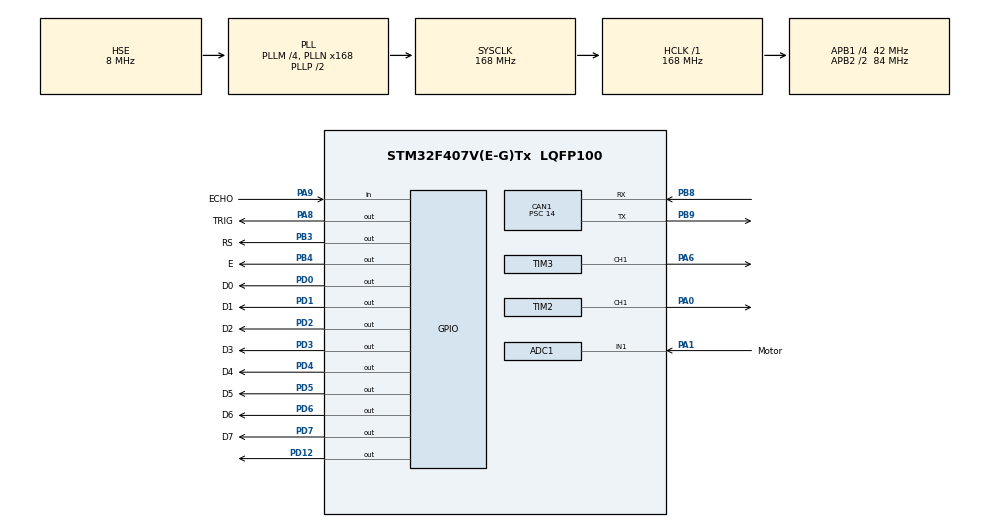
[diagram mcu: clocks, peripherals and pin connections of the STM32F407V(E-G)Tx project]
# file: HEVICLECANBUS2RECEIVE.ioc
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Mcu.Family=STM32F4
PH0-OSC_IN.Signal=RCC_OSC_IN
RCC.CortexFreq_Value=168000000
PD0.GPIO_Label=D0
PD6.GPIO_Label=D6
RCC.SYSCLKSource=RCC_SYSCLKSOURCE_PLLCLK
ProjectManager.StackSize=0x400
RCC.HCLKFreq_Value=168000000
PD4.Signal=GPIO_Output
RCC.APB2TimFreq_Value=168000000
TIM3.Period=255
PD0.Signal=GPIO_Output
RCC.AHBFreq_Value=168000000
PH0-OSC_IN.Mode=HSE-External-Oscillator
TIM3.Channel-PWM\ Generation1\ CH1=TIM_CHANNEL_1
ADC1.Channel-0\#ChannelRegularConversion=ADC_CHANNEL_1
RCC.HSE_VALUE=8000000
PD1.GPIO_Label=D1
TIM3.Prescaler=110-1
PA8.Signal=GPIO_Output
TIM2.Channel-PWM\ Generation1\ CH1=TIM_CHANNEL_1
SH.S_TIM3_CH1.0=TIM3_CH1,PWM Generation1 CH1
ADC1.SamplingTime-0\#ChannelRegularConversion=ADC_SAMPLETIME_3CYCLES
PD7.GPIO_Label=D7
PH1-OSC_OUT.Mode=HSE-External-Oscillator
CAN1.Prescaler=14
PB9.Signal=CAN1_TX
Mcu.Package=LQFP100
PA6.Signal=S_TIM3_CH1
PD12.Signal=GPIO_Output
PD5.GPIO_Label=D5
RCC.APB2CLKDivider=RCC_HCLK_DIV2
SH.ADCx_IN1.0=ADC1_IN1,IN1
RCC.APB1TimFreq_Value=84000000
PD3.GPIO_Label=D3
PD6.Signal=GPIO_Output
CAN1.CalculateTimeBit=1999.99
VP_TIM3_VS_ClockSourceINT.Mode=Internal
PB4.Signal=GPIO_Output
CAN1.CalculateTimeQuantum=333.33333333333337
PB3.GPIO_Label=RS
RCC.PLLSourceVirtual=RCC_PLLSOURCE_HSE
ADC1.Rank-0\#ChannelRegularConversion=1
PA9.GPIO_Label=ECHO
PD3.Signal=GPIO_Output
CAN1.CalculateBaudRate=500000
PD7.Signal=GPIO_Output
PD1.Signal=GPIO_Output
PD5.Signal=GPIO_Output
RCC.APB1CLKDivider=RCC_HCLK_DIV4
PA0-WKUP.Signal=S_TIM2_CH1_ETR
PA8.GPIO_Label=TRIG
CAN1.BS2=CAN_BS2_3TQ
CAN1.BS1=CAN_BS1_2TQ
ProjectManager.TargetToolchain=STM32CubeIDE
PB9.Mode=CAN_Activate
PA9.Signal=GPIO_Input
TIM4.Prescaler=168-1
RCC.LSE_VALUE=32768
PA1.Signal=ADCx_IN1
board=STM32F407G-DISC1
RCC.VCOOutputFreq_Value=336000000
RCC.APB2Freq_Value=84000000
PB4.GPIO_Label=E
VP_TIM2_VS_ClockSourceINT.Mode=Internal
PD4.GPIO_Label=D4
PA1.GPIO_Label=Motor
PH1-OSC_OUT.Signal=RCC_OSC_OUT
Mcu.Name=STM32F407V(E-G)Tx
RCC.48MHZClocksFreq_Value=48000000
PB3.Signal=GPIO_Output
RCC.SYSCLKFreq_VALUE=168000000
ADC1.master=1
SH.S_TIM2_CH1_ETR.0=TIM2_CH1,PWM Generation1 CH1
ProjectManager.HeapSize=0x200
RCC.HSI_VALUE=16000000
VP_TIM4_VS_ClockSourceINT.Mode=Internal
RCC.PLLQ=7
NVIC.PriorityGroup=NVIC_PRIORITYGROUP_0
ADC1.NbrOfConversionFlag=1
RCC.PLLM=4
PB8.Mode=CAN_Activate
RCC.PLLN=168
PB8.Signal=CAN1_RX
PD2.Signal=GPIO_Output
RCC.APB1Freq_Value=42000000
PD2.GPIO_Label=D2
NVIC.CAN1_RX0_IRQn=true\:0\:0\:false\:false\:true\:true\:true

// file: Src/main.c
/* USER CODE BEGIN Header */
/**
  ******************************************************************************
  * @file           : main.c
  * @brief          : Main program body
  ******************************************************************************
  * @attention
  *
  * <h2><center>&copy; Copyright (c) 2021 STMicroelectronics.
  * All rights reserved.</center></h2>
  *
  * This software component is licensed by ST under BSD 3-Clause license,
  * the "License"; You may not use this file except in compliance with the
  * License. You may obtain a copy of the License at:
  *                        opensource.org/licenses/BSD-3-Clause
  *
  ******************************************************************************
  */
/* USER CODE END Header */
#include "main.h"

/* USER CODE BEGIN Includes */
#include "lcd16x2.h"
#include "DC_MOTOR.h"
/* USER CODE END Includes */

/* USER CODE BEGIN PTD */
#define usTIM	TIM4
#define DC_MOTOR1    0
/* USER CODE END PTD */

ADC_HandleTypeDef hadc1;

CAN_HandleTypeDef hcan1;

TIM_HandleTypeDef htim2;
TIM_HandleTypeDef htim3;
TIM_HandleTypeDef htim4;

/* USER CODE BEGIN PV */
uint16_t state_mode = 0;
HAL_StatusTypeDef ret;
uint16_t master_ID = 0x123;
uint16_t slave_ID = 0x124;
float Distance = 0;

uint8_t value = 50;
/* USER CODE END PV */

void SystemClock_Config(void);
static void MX_GPIO_Init(void);
static void MX_CAN1_Init(void);
static void MX_TIM4_Init(void);
static void MX_ADC1_Init(void);
static void MX_TIM2_Init(void);
static void MX_TIM3_Init(void);
/* USER CODE BEGIN PFP */
void Received_Value (uint16_t temp_val);
void Delay_us(uint32_t delay);
float readdistance(void);
int bus_error = 0;
/* USER CODE END PFP */

/* USER CODE BEGIN 0 */
CAN_FilterTypeDef sFilterConfig;
CAN_TxHeaderTypeDef TxHeader;
CAN_RxHeaderTypeDef RxHeader;

uint8_t             TxData[8];
uint8_t             RxData[8];
uint32_t            TxMailbox;

int check_data = 0;

void HAL_CAN_RxFifo0MsgPendingCallback(CAN_HandleTypeDef *hcan)
{

    if(HAL_CAN_GetRxMessage(&hcan1, CAN_RX_FIFO0, &RxHeader, RxData) != HAL_OK)
    {
    	Error_Handler();
    	lcd16x2_1stLine();
        lcd16x2_printf("CAN BUS ERROR");
        HAL_Delay(1000);
    }

    if(RxHeader.StdId == master_ID)

    {
    	if(RxData[0] > 30)
    	{
    		check_data = 1;
    		state_mode = 1;   //prints temp

    		if(RxData[1] < 50)
    		{
    			check_data = 1;
    			state_mode = 2;  // prints temp and pressure

    			if(RxData[2] < 10)
    		    {
    		    	check_data = 1;
    		    	state_mode = 3;   //prints temp pressure and distance
    		    }
    		}
    		else if(RxData[2] < 10)
    		{
    			check_data = 1;
    			state_mode = 7;
    		}
    	 }
    	 else if (RxData[1] < 50)
    	 {
    		check_data = 1;
    		state_mode = 4;  //prints pressure only
    		if(RxData[0] > 30)
    		{
    			check_data = 1;
    			state_mode = 2;  //prints temp and pressure

    			if(RxData[2] < 10)
    	    	{
    	    	    check_data = 1;
    	    		state_mode = 3;  // prints pressure and distance
    	    	}
    		}
    		else if(RxData[2] < 10)
    		{
    			check_data = 1;
    			state_mode = 5;  // prints pressure and distance
    		}
    	 }
    	 else if(RxData[2] < 10)
    	 {
    		check_data = 1;
    		state_mode = 6;   // prints distance
    		if(RxData[0] > 30)
    		{
    			check_data = 1;
    			state_mode = 7; // prints temp and distance

    			if(RxData[1] < 50)
    			{
    			    check_data = 1;
    			    state_mode = 3; // prints temp pressure distance
    			}
    		}
    		else if(RxData[1] < 50)
    		{
    		    check_data = 1;
    		    state_mode = 7; // prints temp pressure distance
    		}
    	 }
    	 else
    	 {
    		check_data = 1;
    		state_mode = 0;
    	 }

    }

}

/* USER CODE END 0 */

int main(void)
{
  /* USER CODE BEGIN 1 */
	//uint16_t AD_RES = 0;
  /* USER CODE END 1 */

  /* MCU Configuration--------------------------------------------------------*/

  /* Reset of all peripherals, Initializes the Flash interface and the Systick. */
  HAL_Init();

  /* Configure the system clock */
  SystemClock_Config();

  /* Initialize all configured peripherals */
  MX_GPIO_Init();
  MX_CAN1_Init();
  MX_TIM4_Init();
  MX_ADC1_Init();
  MX_TIM2_Init();
  MX_TIM3_Init();
  /* USER CODE BEGIN 2 */

  HAL_TIM_PWM_Start(&htim3, TIM_CHANNEL_1);

  if (HAL_CAN_Start(&hcan1) != HAL_OK)
  {
    /* Start Error */
     Error_Handler();
  }

  if (HAL_CAN_ActivateNotification(&hcan1, CAN_IT_RX_FIFO0_MSG_PENDING) != HAL_OK)
  {

    /* Notification Error */
    Error_Handler();
  }

  //TxHeader.StdId = master_ID;
  TxHeader.StdId = slave_ID;
  TxHeader.ExtId = 0x00;
  TxHeader.RTR = CAN_RTR_DATA;
  TxHeader.IDE = CAN_ID_STD;
  TxHeader.DLC = 4;
  TxHeader.TransmitGlobalTime = DISABLE;

  /* LCD Pins */
    lcd16x2_init_8bits(RS_GPIO_Port, RS_Pin, E_Pin,
     D0_GPIO_Port, D0_Pin, D1_Pin, D2_Pin, D3_Pin,
     D4_GPIO_Port, D4_Pin, D5_Pin, D6_Pin, D7_Pin);

  /* USER CODE END 2 */

  /* Infinite loop */
  /* USER CODE BEGIN WHILE */
  while (1)
  {

	  if(check_data == 1)
	  {
		  Received_Value(state_mode);
	  }
	  //htim3.Instance->CCR1 = value;
	  // Start ADC Conversion
	     //HAL_ADC_Start(&hadc1);
	 // Poll ADC1 Perihperal & TimeOut = 1mSec
	 	 //HAL_ADC_PollForConversion(&hadc1, 1);
	 // Read The ADC Conversion Result & Map It To PWM DutyCycle
	 	 //AD_RES = HAL_ADC_GetValue(&hadc1);
	 	 //DC_MOTOR_Set_Speed(DC_MOTOR1, AD_RES>>2);
	 	 //HAL_Delay(1);

    /* USER CODE END WHILE */

  }
}

void SystemClock_Config(void)
{
  RCC_OscInitTypeDef RCC_OscInitStruct = {0};
  RCC_ClkInitTypeDef RCC_ClkInitStruct = {0};

  /** Configure the main internal regulator output voltage
  */
  __HAL_RCC_PWR_CLK_ENABLE();
  __HAL_PWR_VOLTAGESCALING_CONFIG(PWR_REGULATOR_VOLTAGE_SCALE1);
  /** Initializes the RCC Oscillators according to the specified parameters
  * in the RCC_OscInitTypeDef structure.
  */
  RCC_OscInitStruct.OscillatorType = RCC_OSCILLATORTYPE_HSE;
  RCC_OscInitStruct.HSEState = RCC_HSE_ON;
  RCC_OscInitStruct.PLL.PLLState = RCC_PLL_ON;
  RCC_OscInitStruct.PLL.PLLSource = RCC_PLLSOURCE_HSE;
  RCC_OscInitStruct.PLL.PLLM = 4;
  RCC_OscInitStruct.PLL.PLLN = 168;
  RCC_OscInitStruct.PLL.PLLP = RCC_PLLP_DIV2;
  RCC_OscInitStruct.PLL.PLLQ = 7;
  if (HAL_RCC_OscConfig(&RCC_OscInitStruct) != HAL_OK)
  {
    Error_Handler();
  }
  /** Initializes the CPU, AHB and APB buses clocks
  */
  RCC_ClkInitStruct.ClockType = RCC_CLOCKTYPE_HCLK|RCC_CLOCKTYPE_SYSCLK
                              |RCC_CLOCKTYPE_PCLK1|RCC_CLOCKTYPE_PCLK2;
  RCC_ClkInitStruct.SYSCLKSource = RCC_SYSCLKSOURCE_PLLCLK;
  RCC_ClkInitStruct.AHBCLKDivider = RCC_SYSCLK_DIV1;
  RCC_ClkInitStruct.APB1CLKDivider = RCC_HCLK_DIV4;
  RCC_ClkInitStruct.APB2CLKDivider = RCC_HCLK_DIV2;

  if (HAL_RCC_ClockConfig(&RCC_ClkInitStruct, FLASH_LATENCY_5) != HAL_OK)
  {
    Error_Handler();
  }
}

static void MX_ADC1_Init(void)
{

  ADC_ChannelConfTypeDef sConfig = {0};

  /** Configure the global features of the ADC (Clock, Resolution, Data Alignment and number of conversion)
  */
  hadc1.Instance = ADC1;
  hadc1.Init.ClockPrescaler = ADC_CLOCK_SYNC_PCLK_DIV4;
  hadc1.Init.Resolution = ADC_RESOLUTION_12B;
  hadc1.Init.ScanConvMode = DISABLE;
  hadc1.Init.ContinuousConvMode = DISABLE;
  hadc1.Init.DiscontinuousConvMode = DISABLE;
  hadc1.Init.ExternalTrigConvEdge = ADC_EXTERNALTRIGCONVEDGE_NONE;
  hadc1.Init.ExternalTrigConv = ADC_SOFTWARE_START;
  hadc1.Init.DataAlign = ADC_DATAALIGN_RIGHT;
  hadc1.Init.NbrOfConversion = 1;
  hadc1.Init.DMAContinuousRequests = DISABLE;
  hadc1.Init.EOCSelection = ADC_EOC_SINGLE_CONV;
  if (HAL_ADC_Init(&hadc1) != HAL_OK)
  {
    Error_Handler();
  }
  /** Configure for the selected ADC regular channel its corresponding rank in the sequencer and its sample time.
  */
  sConfig.Channel = ADC_CHANNEL_1;
  sConfig.Rank = 1;
  sConfig.SamplingTime = ADC_SAMPLETIME_3CYCLES;
  if (HAL_ADC_ConfigChannel(&hadc1, &sConfig) != HAL_OK)
  {
    Error_Handler();
  }

}

static void MX_CAN1_Init(void)
{

  hcan1.Instance = CAN1;
  hcan1.Init.Prescaler = 14;
  hcan1.Init.Mode = CAN_MODE_NORMAL;
  hcan1.Init.SyncJumpWidth = CAN_SJW_1TQ;
  hcan1.Init.TimeSeg1 = CAN_BS1_2TQ;
  hcan1.Init.TimeSeg2 = CAN_BS2_3TQ;
  hcan1.Init.TimeTriggeredMode = DISABLE;
  hcan1.Init.AutoBusOff = DISABLE;
  hcan1.Init.AutoWakeUp = DISABLE;
  hcan1.Init.AutoRetransmission = DISABLE;
  hcan1.Init.ReceiveFifoLocked = DISABLE;
  hcan1.Init.TransmitFifoPriority = DISABLE;
  if (HAL_CAN_Init(&hcan1) != HAL_OK)
  {
	bus_error = 1;
    Error_Handler();
  }
  /* USER CODE BEGIN CAN1_Init 2 */
  /* CAN filter */
   sFilterConfig.FilterBank = 18;
   sFilterConfig.FilterMode = CAN_FILTERMODE_IDMASK;
   sFilterConfig.FilterScale = CAN_FILTERSCALE_32BIT;
   sFilterConfig.FilterIdHigh = 0x0000;
   sFilterConfig.FilterIdLow = 0x0000;
   sFilterConfig.FilterMaskIdHigh = 0x0000;
   sFilterConfig.FilterMaskIdLow = 0x0000;
   sFilterConfig.FilterFIFOAssignment = CAN_RX_FIFO0;
   sFilterConfig.FilterActivation = ENABLE;
   sFilterConfig.SlaveStartFilterBank = 20;
   if (HAL_CAN_ConfigFilter(&hcan1, &sFilterConfig) != HAL_OK)
   {
      /* Filter configuration Error */
       Error_Handler();
   }

  /* USER CODE END CAN1_Init 2 */

}

static void MX_TIM2_Init(void)
{

  /* USER CODE BEGIN TIM2_Init 0 */
//
  /* USER CODE END TIM2_Init 0 */

  TIM_ClockConfigTypeDef sClockSourceConfig = {0};
  TIM_MasterConfigTypeDef sMasterConfig = {0};
  TIM_OC_InitTypeDef sConfigOC = {0};

  /* USER CODE BEGIN TIM2_Init 1 */
//
  /* USER CODE END TIM2_Init 1 */
  htim2.Instance = TIM2;
  htim2.Init.Prescaler = 0;
  htim2.Init.CounterMode = TIM_COUNTERMODE_UP;
  htim2.Init.Period = 4294967295;
  htim2.Init.ClockDivision = TIM_CLOCKDIVISION_DIV1;
  htim2.Init.AutoReloadPreload = TIM_AUTORELOAD_PRELOAD_DISABLE;
  if (HAL_TIM_Base_Init(&htim2) != HAL_OK)
  {
    Error_Handler();
  }
  sClockSourceConfig.ClockSource = TIM_CLOCKSOURCE_INTERNAL;
  if (HAL_TIM_ConfigClockSource(&htim2, &sClockSourceConfig) != HAL_OK)
  {
    Error_Handler();
  }
  if (HAL_TIM_PWM_Init(&htim2) != HAL_OK)
  {
    Error_Handler();
  }
  sMasterConfig.MasterOutputTrigger = TIM_TRGO_RESET;
  sMasterConfig.MasterSlaveMode = TIM_MASTERSLAVEMODE_DISABLE;
  if (HAL_TIMEx_MasterConfigSynchronization(&htim2, &sMasterConfig) != HAL_OK)
  {
    Error_Handler();
  }
  sConfigOC.OCMode = TIM_OCMODE_PWM1;
  sConfigOC.Pulse = 0;
  sConfigOC.OCPolarity = TIM_OCPOLARITY_HIGH;
  sConfigOC.OCFastMode = TIM_OCFAST_DISABLE;
  if (HAL_TIM_PWM_ConfigChannel(&htim2, &sConfigOC, TIM_CHANNEL_1) != HAL_OK)
  {
    Error_Handler();
  }
  /* USER CODE BEGIN TIM2_Init 2 */
//
  /* USER CODE END TIM2_Init 2 */
  HAL_TIM_MspPostInit(&htim2);

}

static void MX_TIM3_Init(void)
{

  TIM_ClockConfigTypeDef sClockSourceConfig = {0};
  TIM_MasterConfigTypeDef sMasterConfig = {0};
  TIM_OC_InitTypeDef sConfigOC = {0};

  htim3.Instance = TIM3;
  htim3.Init.Prescaler = 110-1;
  htim3.Init.CounterMode = TIM_COUNTERMODE_UP;
  htim3.Init.Period = 255;
  htim3.Init.ClockDivision = TIM_CLOCKDIVISION_DIV1;
  htim3.Init.AutoReloadPreload = TIM_AUTORELOAD_PRELOAD_DISABLE;
  if (HAL_TIM_Base_Init(&htim3) != HAL_OK)
  {
    Error_Handler();
  }
  sClockSourceConfig.ClockSource = TIM_CLOCKSOURCE_INTERNAL;
  if (HAL_TIM_ConfigClockSource(&htim3, &sClockSourceConfig) != HAL_OK)
  {
    Error_Handler();
  }
  if (HAL_TIM_PWM_Init(&htim3) != HAL_OK)
  {
    Error_Handler();
  }
  sMasterConfig.MasterOutputTrigger = TIM_TRGO_RESET;
  sMasterConfig.MasterSlaveMode = TIM_MASTERSLAVEMODE_DISABLE;
  if (HAL_TIMEx_MasterConfigSynchronization(&htim3, &sMasterConfig) != HAL_OK)
  {
    Error_Handler();
  }
  sConfigOC.OCMode = TIM_OCMODE_PWM1;
  sConfigOC.Pulse = 0;
  sConfigOC.OCPolarity = TIM_OCPOLARITY_HIGH;
  sConfigOC.OCFastMode = TIM_OCFAST_DISABLE;
  if (HAL_TIM_PWM_ConfigChannel(&htim3, &sConfigOC, TIM_CHANNEL_1) != HAL_OK)
  {
    Error_Handler();
  }
  HAL_TIM_MspPostInit(&htim3);

}

static void MX_TIM4_Init(void)
{

  TIM_ClockConfigTypeDef sClockSourceConfig = {0};
  TIM_MasterConfigTypeDef sMasterConfig = {0};

  htim4.Instance = TIM4;
  htim4.Init.Prescaler = 168-1;
  htim4.Init.CounterMode = TIM_COUNTERMODE_UP;
  htim4.Init.Period = 65535;
  htim4.Init.ClockDivision = TIM_CLOCKDIVISION_DIV1;
  htim4.Init.AutoReloadPreload = TIM_AUTORELOAD_PRELOAD_DISABLE;
  if (HAL_TIM_Base_Init(&htim4) != HAL_OK)
  {
    Error_Handler();
  }
  sClockSourceConfig.ClockSource = TIM_CLOCKSOURCE_INTERNAL;
  if (HAL_TIM_ConfigClockSource(&htim4, &sClockSourceConfig) != HAL_OK)
  {
    Error_Handler();
  }
  sMasterConfig.MasterOutputTrigger = TIM_TRGO_RESET;
  sMasterConfig.MasterSlaveMode = TIM_MASTERSLAVEMODE_DISABLE;
  if (HAL_TIMEx_MasterConfigSynchronization(&htim4, &sMasterConfig) != HAL_OK)
  {
    Error_Handler();
  }

}

static void MX_GPIO_Init(void)
{
  GPIO_InitTypeDef GPIO_InitStruct = {0};

  /* GPIO Ports Clock Enable */
  __HAL_RCC_GPIOH_CLK_ENABLE();
  __HAL_RCC_GPIOA_CLK_ENABLE();
  __HAL_RCC_GPIOD_CLK_ENABLE();
  __HAL_RCC_GPIOB_CLK_ENABLE();

  /*Configure GPIO pin Output Level */
  HAL_GPIO_WritePin(GPIOD, GPIO_PIN_12|D0_Pin|D1_Pin|D2_Pin
                          |D3_Pin|D4_Pin|D5_Pin|D6_Pin
                          |D7_Pin, GPIO_PIN_RESET);

  /*Configure GPIO pin Output Level */
  HAL_GPIO_WritePin(TRIG_GPIO_Port, TRIG_Pin, GPIO_PIN_RESET);

  /*Configure GPIO pin Output Level */
  HAL_GPIO_WritePin(GPIOB, RS_Pin|E_Pin, GPIO_PIN_RESET);

  /*Configure GPIO pins : PD12 D0_Pin D1_Pin D2_Pin
                           D3_Pin D4_Pin D5_Pin D6_Pin
                           D7_Pin */
  GPIO_InitStruct.Pin = GPIO_PIN_12|D0_Pin|D1_Pin|D2_Pin
                          |D3_Pin|D4_Pin|D5_Pin|D6_Pin
                          |D7_Pin;
  GPIO_InitStruct.Mode = GPIO_MODE_OUTPUT_PP;
  GPIO_InitStruct.Pull = GPIO_NOPULL;
  GPIO_InitStruct.Speed = GPIO_SPEED_FREQ_LOW;
  HAL_GPIO_Init(GPIOD, &GPIO_InitStruct);

  /*Configure GPIO pin : TRIG_Pin */
  GPIO_InitStruct.Pin = TRIG_Pin;
  GPIO_InitStruct.Mode = GPIO_MODE_OUTPUT_PP;
  GPIO_InitStruct.Pull = GPIO_NOPULL;
  GPIO_InitStruct.Speed = GPIO_SPEED_FREQ_LOW;
  HAL_GPIO_Init(TRIG_GPIO_Port, &GPIO_InitStruct);

  /*Configure GPIO pin : ECHO_Pin */
  GPIO_InitStruct.Pin = ECHO_Pin;
  GPIO_InitStruct.Mode = GPIO_MODE_INPUT;
  GPIO_InitStruct.Pull = GPIO_NOPULL;
  HAL_GPIO_Init(ECHO_GPIO_Port, &GPIO_InitStruct);

  /*Configure GPIO pins : RS_Pin E_Pin */
  GPIO_InitStruct.Pin = RS_Pin|E_Pin;
  GPIO_InitStruct.Mode = GPIO_MODE_OUTPUT_PP;
  GPIO_InitStruct.Pull = GPIO_NOPULL;
  GPIO_InitStruct.Speed = GPIO_SPEED_FREQ_LOW;
  HAL_GPIO_Init(GPIOB, &GPIO_InitStruct);

}

/* USER CODE BEGIN 4 */
void Received_Value (uint16_t mode_state)
{

	switch(mode_state)
		      {
		          case(0): //IDE
		          {
		        	  lcd16x2_clear();
		        	  HAL_Delay(500);
		        	  lcd16x2_1stLine();
		        	  lcd16x2_printf("Waiting for CAN");
		        	  HAL_Delay(1000);

		          }
		          break;
		          case(1):
	              {
		        	  lcd16x2_clear();
		        	  HAL_Delay(500);
		        	  lcd16x2_1stLine();
		        	  lcd16x2_printf("Temp high : %.2f",(float) RxData[0]);
		        	  HAL_GPIO_TogglePin(GPIOD, GPIO_PIN_12);
		        	  htim3.Instance->CCR1 = value;
		        	  HAL_Delay(1000);

		        	  value = 0;
	              }
		          break;
		          case(2):
	              {
		        	  lcd16x2_clear();
		        	  HAL_Delay(500);
		        	  lcd16x2_1stLine();
		        	  lcd16x2_printf("Temp high : %.2f",(float) RxData[0]);
		        	  HAL_GPIO_TogglePin(GPIOD, GPIO_PIN_12);
		        	  htim3.Instance->CCR1 = value;
		        	  HAL_Delay(1000);
		        	  value = 0;

		        	  lcd16x2_clear();
		        	  HAL_Delay(500);
		        	  lcd16x2_1stLine();
		        	  lcd16x2_printf("Pressure: %.2f",(float) RxData[1]);
		        	  HAL_GPIO_TogglePin(GPIOD, GPIO_PIN_12);
		        	  //htim3.Instance->CCR1 = value;
		        	  HAL_Delay(1000);

	              }
		          break;
		          case(3):
	              {
		        	  lcd16x2_clear();
		        	  HAL_Delay(500);
		        	  lcd16x2_1stLine();
		        	  lcd16x2_printf("Temp high : %.2f",(float) RxData[0]);
		        	  htim3.Instance->CCR1 = value;
		        	  HAL_Delay(1000);
		        	  value = 0;

		        	  lcd16x2_clear();
		        	  HAL_Delay(500);
		        	  lcd16x2_1stLine();
		        	  lcd16x2_printf("Pressure: %.2f",(float) RxData[1]);
		        	 // htim3.Instance->CCR1 = value;
		        	  HAL_Delay(1000);

		        	  lcd16x2_clear();
		        	  HAL_Delay(500);
		        	  lcd16x2_1stLine();
		        	  lcd16x2_printf("Distance: %.1f",(float) RxData[2]);
		        	  HAL_GPIO_TogglePin(GPIOD, GPIO_PIN_12);
		        	  //htim3.Instance->CCR1 = value;
		        	  HAL_Delay(1000);

	              }
		          break;
		          case(4):
	              {
		        	  lcd16x2_clear();
		        	  HAL_Delay(500);
		        	  lcd16x2_1stLine();
		        	  lcd16x2_printf("Pressure: %.2f",(float) RxData[1]);
		        	  HAL_GPIO_TogglePin(GPIOD, GPIO_PIN_12);
		        	  htim3.Instance->CCR1 = value;
		        	  HAL_Delay(1000);

		        	  value = 0;
	              }
		          break;
		          case(5):
	              {
		        	  lcd16x2_clear();
		        	  HAL_Delay(500);
		        	  lcd16x2_1stLine();
		        	  lcd16x2_printf("Pressure: %.2f",(float) RxData[1]);
		        	  HAL_GPIO_TogglePin(GPIOD, GPIO_PIN_12);
		        	  htim3.Instance->CCR1 = value;
		        	  HAL_Delay(1000);
		        	  value = 0;

		        	  lcd16x2_clear();
		        	  HAL_Delay(500);
		        	  lcd16x2_1stLine();
		        	  lcd16x2_printf("Distance: %.1f",(float) RxData[2]);
		        	  HAL_GPIO_TogglePin(GPIOD, GPIO_PIN_12);
		        	 // htim3.Instance->CCR1 = value;
		        	  HAL_Delay(1000);

	              }
		          break;
		          case(6):
	              {
		        	  lcd16x2_clear();
		        	  HAL_Delay(500);
		        	  lcd16x2_1stLine();
		        	  lcd16x2_printf("Distance: %.1f",(float) RxData[2]);
		        	  HAL_GPIO_TogglePin(GPIOD, GPIO_PIN_12);
		        	  htim3.Instance->CCR1 = value;
		        	  HAL_Delay(1000);

		        	  value = 0;
	              }
		          break;
		          case(7):
		          {
		        	  lcd16x2_clear();
		        	  HAL_Delay(500);
		        	  lcd16x2_1stLine();
		        	  lcd16x2_printf("Temp high : %.2f",(float) RxData[0]);
		        	  HAL_GPIO_TogglePin(GPIOD, GPIO_PIN_12);
		        	  htim3.Instance->CCR1 = value;
		        	  HAL_Delay(1000);
		        	  value = 0;

		        	  lcd16x2_clear();
		        	  HAL_Delay(500);
		        	  lcd16x2_1stLine();
		        	  lcd16x2_printf("Distance: %.1f",(float) RxData[2]);
		        	  HAL_GPIO_TogglePin(GPIOD, GPIO_PIN_12);
		        	 // htim3.Instance->CCR1 = value;
		        	  HAL_Delay(1000);

		          }
		          break;
		          default:
				  break;
		      }
}

float readdistance(void)
{
	const float speedOfSound = 0.0343/2;
	uint32_t numTicks = 0;
	float distance = 0;

	//Set TRIG to LOW for few uSec
	HAL_GPIO_WritePin(TRIG_GPIO_Port, TRIG_Pin, GPIO_PIN_RESET);
	Delay_us(3);

	//*** START Ultrasonic measure routine ***//
	//Output 10 usec TRIG
	HAL_GPIO_WritePin(TRIG_GPIO_Port, TRIG_Pin, GPIO_PIN_SET);
	Delay_us(10);
	HAL_GPIO_WritePin(TRIG_GPIO_Port, TRIG_Pin, GPIO_PIN_RESET);

	//Wait for ECHO pin rising edge
	while(HAL_GPIO_ReadPin(ECHO_GPIO_Port, ECHO_Pin) == GPIO_PIN_RESET);

	//Start measuring ECHO pulse width in usec
	numTicks = 0;
	while(HAL_GPIO_ReadPin(ECHO_GPIO_Port, ECHO_Pin) == GPIO_PIN_SET)
	{
		numTicks++;
	    //Delay_us(2); //2.8usec
	};

	//Estimate distance in cm
	distance = (numTicks + 0.0f) * speedOfSound;

	return(distance);
}

void Delay_us(uint32_t delay)
{
	if(delay < 2) delay = 2;
	usTIM->ARR = delay - 1; 	/*sets the value in the auto-reload register*/
	usTIM->EGR = 1; 			/*Re-initialises the timer*/
	usTIM->SR &= ~1; 		//Resets the flag
	usTIM->CR1 |= 1; 		//Enables the counter
	while((usTIM->SR&0x0001) != 1);
	usTIM->SR &= ~(0x0001);
}

/* USER CODE END 4 */

void Error_Handler(void)
{
  __disable_irq();
  while (1)
  {
  }
}

/************************ (C) COPYRIGHT STMicroelectronics *****END OF FILE****/
